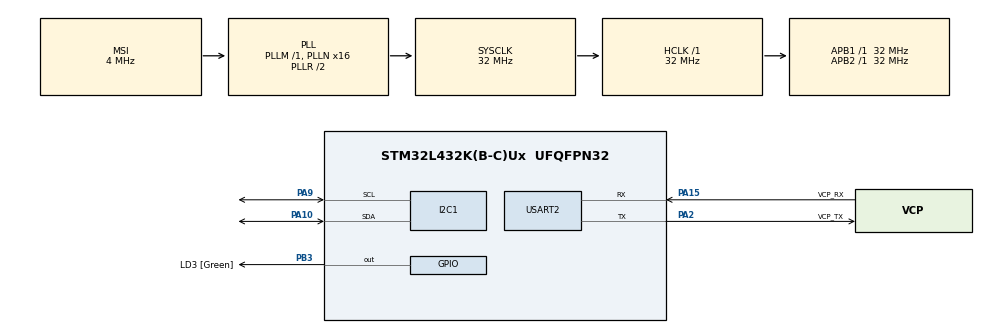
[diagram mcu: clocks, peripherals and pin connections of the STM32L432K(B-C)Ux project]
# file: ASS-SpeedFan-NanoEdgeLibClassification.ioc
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I2C1.Timing=0x00707CBB
Mcu.Family=STM32L4
Mcu.Name=STM32L432K(B-C)Ux
Mcu.Package=UFQFPN32
NVIC.PriorityGroup=NVIC_PRIORITYGROUP_4
PA0.GPIO_Label=MCO [High speed clock in]
PA0.Mode=HSE-External-Clock-Source-for-LittleOrca
PA0.Signal=RCC_CK_IN
PA10.Mode=I2C
PA10.Signal=I2C1_SDA
PA13\ (JTMS-SWDIO).GPIO_Label=SWDIO
PA13\ (JTMS-SWDIO).Mode=Serial_Wire
PA13\ (JTMS-SWDIO).Signal=SYS_JTMS-SWDIO
PA14\ (JTCK-SWCLK).GPIO_Label=SWCLK
PA14\ (JTCK-SWCLK).Mode=Serial_Wire
PA14\ (JTCK-SWCLK).Signal=SYS_JTCK-SWCLK
PA15\ (JTDI).GPIO_Label=VCP_RX
PA15\ (JTDI).Mode=Asynchronous
PA15\ (JTDI).Signal=USART2_RX
PA2.GPIO_Label=VCP_TX
PA2.Mode=Asynchronous
PA2.Signal=USART2_TX
PA9.Mode=I2C
PA9.Signal=I2C1_SCL
PB3\ (JTDO-TRACESWO).GPIO_Label=LD3 [Green]
PB3\ (JTDO-TRACESWO).Signal=GPIO_Output
PC14-OSC32_IN\ (PC14).Mode=LSE-External-Oscillator
PC14-OSC32_IN\ (PC14).Signal=RCC_OSC32_IN
PC15-OSC32_OUT\ (PC15).Mode=LSE-External-Oscillator
PC15-OSC32_OUT\ (PC15).Signal=RCC_OSC32_OUT
ProjectManager.HeapSize=0x200
ProjectManager.StackSize=0x400
ProjectManager.TargetToolchain=STM32CubeIDE
RCC.AHBFreq_Value=32000000
RCC.APB1Freq_Value=32000000
RCC.APB1TimFreq_Value=32000000
RCC.APB2Freq_Value=32000000
RCC.APB2TimFreq_Value=32000000
RCC.CortexFreq_Value=32000000
RCC.HCLKFreq_Value=32000000
RCC.HSE_VALUE=8000000
RCC.HSI16_VALUE=16000000
RCC.HSI48_VALUE=48000000
RCC.HSI_VALUE=16000000
RCC.MSI_VALUE=4000000
RCC.PLLMUL=RCC_PLLMUL_4
RCC.PLLN=16
RCC.SYSCLKFreq_VALUE=32000000
RCC.SYSCLKSource=RCC_SYSCLKSOURCE_PLLCLK
RCC.VCOOutputFreq_Value=64000000
USART2.VirtualMode-Asynchronous=VM_ASYNC
board=NUCLEO-L432KC

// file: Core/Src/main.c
/* USER CODE BEGIN Header */
/**
  ******************************************************************************
  * @file           : main.c
  * @brief          : Main program body
  ******************************************************************************
  * @attention
  *
  * Copyright (c) 2023 STMicroelectronics.
  * All rights reserved.
  *
  * This software is licensed under terms that can be found in the LICENSE file
  * in the root directory of this software component.
  * If no LICENSE file comes with this software, it is provided AS-IS.
  *
  ******************************************************************************
  */
/* USER CODE END Header */
#include "main.h"

/* USER CODE BEGIN Includes */
#include <stdio.h>
#include <string.h>
#include "NanoEdgeAI.h"
#include "knowledge.h"
/* USER CODE END Includes */

/* USER CODE BEGIN PD */
#define LIS3DH_V_CHIP_ADDR (0x19 << 1)
#define LIS3DH_OUT_X_L 		0x28
#define BUFFER_SIZE			512
#define NB_AXES				3
#define LIS3DH_CTRL_REG1	0x20
#define LIS3DH_CTRL_REG4	0x23
/* USER CODE END PD */

I2C_HandleTypeDef hi2c1;

UART_HandleTypeDef huart2;

/* USER CODE BEGIN PV */
HAL_StatusTypeDef ret;
uint8_t buf[32]; // 8 bit unsigned byte with size of array buffer is 32
float acc_buffer[BUFFER_SIZE * NB_AXES] = {0}; // Length of the data is BUFFER_SIZE * NB_AXES
float output_class_buffer[CLASS_NUMBER]; // Buffer of class probabilities
const char *id2class[CLASS_NUMBER + 1] = { // Buffer for mapping class id to class name
	"unknown",
	"OFF",
	"Speed1",
	"Speed2",
};

/* USER CODE END PV */

void SystemClock_Config(void);
static void MX_GPIO_Init(void);
static void MX_USART2_UART_Init(void);
static void MX_I2C1_Init(void);

int main(void)
{
  /* USER CODE BEGIN 1 */
  uint16_t newClass = 0;
  /* USER CODE END 1 */

  /* MCU Configuration--------------------------------------------------------*/

  /* Reset of all peripherals, Initializes the Flash interface and the Systick. */
  HAL_Init();

  /* USER CODE BEGIN Init */

  /* classification using NanoEdge AI Library */
  /* Load the NanoEdge AI library with the trained knowledge. */
  enum neai_state error_code = neai_classification_init( knowledge );
  if (error_code != NEAI_OK) {
  		/* This happens if the knowledge does not correspond to the library or if the library works into a not supported board. */
  }

  /* USER CODE END Init */

  /* Configure the system clock */
  SystemClock_Config();

  /* Initialize all configured peripherals */
  MX_GPIO_Init();
  MX_USART2_UART_Init();
  MX_I2C1_Init();
  /* USER CODE BEGIN 2 */
  buf[0] = LIS3DH_CTRL_REG1;
  buf[1] = 0x97;
  /*  ODR:1.34kHz, X, Y and Z Axis Enable */
  ret = HAL_I2C_Master_Transmit(&hi2c1, LIS3DH_V_CHIP_ADDR, buf, 2, HAL_MAX_DELAY);
  if ( ret != HAL_OK) {
	  sprintf((char*)buf, "ErrorTx CTRL_REG1\r\n");  // formats and stores a series of characters and values in the array buffer which returns ErrorTx CTRL_REG1
	  HAL_UART_Transmit(&huart2, buf, strlen((char*)buf), HAL_MAX_DELAY); // Sends an amount of data in non blocking mode
  }

  buf[0] = LIS3DH_CTRL_REG4;
  buf[1] = 0x08;
  /* High resolution Enable */
  ret = HAL_I2C_Master_Transmit(&hi2c1, LIS3DH_V_CHIP_ADDR, buf, 2, HAL_MAX_DELAY);
  if ( ret != HAL_OK) {
	  sprintf((char*)buf, "ErrorTx CTRL_REG4\r\n");  // formats and stores a series of characters and values in the array buffer which returns ErrorTx CTRL_REG1
	  HAL_UART_Transmit(&huart2, buf, strlen((char*)buf), HAL_MAX_DELAY); // Sends an amount of data in non blocking mode
  }
  /* USER CODE END 2 */

  /* Infinite loop */
  while (1)
  {

    /* USER CODE BEGIN 3 */

	 /* get fresh accelerometer data */
	 for (uint16_t i = 0; i < BUFFER_SIZE; i++) {
		buf[0] = LIS3DH_OUT_X_L | 0x80;
		ret = HAL_I2C_Master_Transmit(&hi2c1, LIS3DH_V_CHIP_ADDR, buf, 1, HAL_MAX_DELAY);
		if (ret != HAL_OK) {
			i--;	//New data not ready, re-sense the data
		}
		else {
			buf[0] = LIS3DH_OUT_X_L | 0x80 | 0x40;
			ret = HAL_I2C_Master_Receive(&hi2c1, LIS3DH_V_CHIP_ADDR, buf, 6, HAL_MAX_DELAY);
			if (ret != HAL_OK) {
				i--;	//New data not ready, re-sense the data
			} else {
				acc_buffer[NB_AXES * i] = ((buf[1] << 8) | buf[0]);
				acc_buffer[(NB_AXES * i) + 1] = ((buf[3] << 8) | buf[2]);
				acc_buffer[(NB_AXES * i) + 2] = ((buf[5] << 8) | buf[4]);
			}
		}
	 }

	 /* classify the input signal and get a class id as output */
	 neai_classification(acc_buffer, output_class_buffer, &newClass);

	 /* print the result to the serial */
	 sprintf((char *)buf, "\nSpeed Detected: %s.\n\n", id2class[newClass]);
	 HAL_UART_Transmit(&huart2, buf, strlen((char const*)buf), HAL_MAX_DELAY); // Sends an amount of data in non blocking mode
  }

  /* USER CODE END 3 */
}

void SystemClock_Config(void)
{
  RCC_OscInitTypeDef RCC_OscInitStruct = {0};
  RCC_ClkInitTypeDef RCC_ClkInitStruct = {0};

  /** Configure the main internal regulator output voltage
  */
  if (HAL_PWREx_ControlVoltageScaling(PWR_REGULATOR_VOLTAGE_SCALE1) != HAL_OK)
  {
    Error_Handler();
  }

  /** Configure LSE Drive Capability
  */
  HAL_PWR_EnableBkUpAccess();
  __HAL_RCC_LSEDRIVE_CONFIG(RCC_LSEDRIVE_LOW);

  /** Initializes the RCC Oscillators according to the specified parameters
  * in the RCC_OscInitTypeDef structure.
  */
  RCC_OscInitStruct.OscillatorType = RCC_OSCILLATORTYPE_LSE|RCC_OSCILLATORTYPE_MSI;
  RCC_OscInitStruct.LSEState = RCC_LSE_ON;
  RCC_OscInitStruct.MSIState = RCC_MSI_ON;
  RCC_OscInitStruct.MSICalibrationValue = 0;
  RCC_OscInitStruct.MSIClockRange = RCC_MSIRANGE_6;
  RCC_OscInitStruct.PLL.PLLState = RCC_PLL_ON;
  RCC_OscInitStruct.PLL.PLLSource = RCC_PLLSOURCE_MSI;
  RCC_OscInitStruct.PLL.PLLM = 1;
  RCC_OscInitStruct.PLL.PLLN = 16;
  RCC_OscInitStruct.PLL.PLLP = RCC_PLLP_DIV7;
  RCC_OscInitStruct.PLL.PLLQ = RCC_PLLQ_DIV2;
  RCC_OscInitStruct.PLL.PLLR = RCC_PLLR_DIV2;
  if (HAL_RCC_OscConfig(&RCC_OscInitStruct) != HAL_OK)
  {
    Error_Handler();
  }

  /** Initializes the CPU, AHB and APB buses clocks
  */
  RCC_ClkInitStruct.ClockType = RCC_CLOCKTYPE_HCLK|RCC_CLOCKTYPE_SYSCLK
                              |RCC_CLOCKTYPE_PCLK1|RCC_CLOCKTYPE_PCLK2;
  RCC_ClkInitStruct.SYSCLKSource = RCC_SYSCLKSOURCE_PLLCLK;
  RCC_ClkInitStruct.AHBCLKDivider = RCC_SYSCLK_DIV1;
  RCC_ClkInitStruct.APB1CLKDivider = RCC_HCLK_DIV1;
  RCC_ClkInitStruct.APB2CLKDivider = RCC_HCLK_DIV1;

  if (HAL_RCC_ClockConfig(&RCC_ClkInitStruct, FLASH_LATENCY_1) != HAL_OK)
  {
    Error_Handler();
  }

  /** Enable MSI Auto calibration
  */
  HAL_RCCEx_EnableMSIPLLMode();
}

static void MX_I2C1_Init(void)
{

  hi2c1.Instance = I2C1;
  hi2c1.Init.Timing = 0x00707CBB;
  hi2c1.Init.OwnAddress1 = 0;
  hi2c1.Init.AddressingMode = I2C_ADDRESSINGMODE_7BIT;
  hi2c1.Init.DualAddressMode = I2C_DUALADDRESS_DISABLE;
  hi2c1.Init.OwnAddress2 = 0;
  hi2c1.Init.OwnAddress2Masks = I2C_OA2_NOMASK;
  hi2c1.Init.GeneralCallMode = I2C_GENERALCALL_DISABLE;
  hi2c1.Init.NoStretchMode = I2C_NOSTRETCH_DISABLE;
  if (HAL_I2C_Init(&hi2c1) != HAL_OK)
  {
    Error_Handler();
  }

  /** Configure Analogue filter
  */
  if (HAL_I2CEx_ConfigAnalogFilter(&hi2c1, I2C_ANALOGFILTER_ENABLE) != HAL_OK)
  {
    Error_Handler();
  }

  /** Configure Digital filter
  */
  if (HAL_I2CEx_ConfigDigitalFilter(&hi2c1, 0) != HAL_OK)
  {
    Error_Handler();
  }

}

static void MX_USART2_UART_Init(void)
{

  huart2.Instance = USART2;
  huart2.Init.BaudRate = 115200;
  huart2.Init.WordLength = UART_WORDLENGTH_8B;
  huart2.Init.StopBits = UART_STOPBITS_1;
  huart2.Init.Parity = UART_PARITY_NONE;
  huart2.Init.Mode = UART_MODE_TX_RX;
  huart2.Init.HwFlowCtl = UART_HWCONTROL_NONE;
  huart2.Init.OverSampling = UART_OVERSAMPLING_16;
  huart2.Init.OneBitSampling = UART_ONE_BIT_SAMPLE_DISABLE;
  huart2.AdvancedInit.AdvFeatureInit = UART_ADVFEATURE_NO_INIT;
  if (HAL_UART_Init(&huart2) != HAL_OK)
  {
    Error_Handler();
  }

}

static void MX_GPIO_Init(void)
{
  GPIO_InitTypeDef GPIO_InitStruct = {0};

  /* GPIO Ports Clock Enable */
  __HAL_RCC_GPIOC_CLK_ENABLE();
  __HAL_RCC_GPIOA_CLK_ENABLE();
  __HAL_RCC_GPIOB_CLK_ENABLE();

  /*Configure GPIO pin Output Level */
  HAL_GPIO_WritePin(LD3_GPIO_Port, LD3_Pin, GPIO_PIN_RESET);

  /*Configure GPIO pin : LD3_Pin */
  GPIO_InitStruct.Pin = LD3_Pin;
  GPIO_InitStruct.Mode = GPIO_MODE_OUTPUT_PP;
  GPIO_InitStruct.Pull = GPIO_NOPULL;
  GPIO_InitStruct.Speed = GPIO_SPEED_FREQ_LOW;
  HAL_GPIO_Init(LD3_GPIO_Port, &GPIO_InitStruct);

}

/* USER CODE BEGIN 4 */

///* Code for classification using NanoEdge AI Library */
//void library_mode()
//{
//	wait_us(1000000);
//	while(1) {
//		fill_acc_array();
//		class_number = NanoEdgeAI_classifier(acc_buffer, output_class_buffer, 0);
//		printf("Class detected: %s (Certainty: %d%%)\n",
//			id2class[class_number],
//			(uint16_t) (output_class_buffer[class_number - 1] * 100));
//	}
//}
//
///* Code for buiding accelerometer buffers using raw accelerometer data */
//void fill_acc_array () // We get 256 samples of acc 3 axes
//{
//	for (uint16_t i = 0; i < BUFFER_SIZE; i++) {
//		if (lis3dh.data_ready()) { // New data is available
//			lis3dh.read_data(&lis3dh_xyz[0]);
//			acc_buffer[NB_AXES * i] = lis3dh_xyz[0];
//			acc_buffer[(NB_AXES * i) + 1] = lis3dh_xyz[1];
//			acc_buffer[(NB_AXES * i) + 2] = lis3dh_xyz[2];
//		} else {
//			i--; // New data not ready
//		}
//	}
//}
/* USER CODE END 4 */

void Error_Handler(void)
{
  __disable_irq();
  while (1)
  {
  }
}
